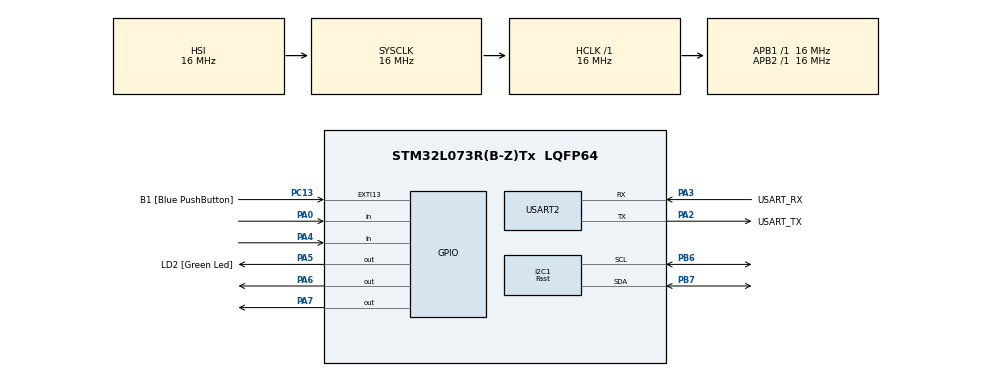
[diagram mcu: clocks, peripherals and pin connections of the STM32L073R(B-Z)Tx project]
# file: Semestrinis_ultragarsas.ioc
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I2C1.I2C_Speed_Mode=I2C_Fast
I2C1.Timing=0x00300617
Mcu.Family=STM32L0
Mcu.Name=STM32L073R(B-Z)Tx
Mcu.Package=LQFP64
NVIC.TIM2_IRQn=true\:0\:0\:false\:false\:true\:true\:true\:true
NVIC.USART2_IRQn=true\:0\:0\:false\:false\:true\:true\:true\:true
PA0.Signal=GPIO_Input
PA13.GPIO_Label=TMS
PA13.Mode=Serial_Wire
PA13.Signal=SYS_SWDIO
PA14.GPIO_Label=TCK
PA14.Mode=Serial_Wire
PA14.Signal=SYS_SWCLK
PA2.GPIO_Label=USART_TX
PA2.Mode=Asynchronous
PA2.Signal=USART2_TX
PA3.GPIO_Label=USART_RX
PA3.Mode=Asynchronous
PA3.Signal=USART2_RX
PA4.Signal=GPIO_Input
PA5.GPIO_Label=LD2 [Green Led]
PA5.Signal=GPIO_Output
PA6.Signal=GPIO_Output
PA7.Signal=GPIO_Output
PB6.Mode=I2C
PB6.Signal=I2C1_SCL
PB7.Mode=I2C
PB7.Signal=I2C1_SDA
PC13.GPIO_Label=B1 [Blue PushButton]
PC13.GPIO_ModeDefaultEXTI=GPIO_MODE_IT_FALLING
PC13.Signal=GPXTI13
PC14-OSC32_IN.Mode=LSE-External-Oscillator
PC14-OSC32_IN.Signal=RCC_OSC32_IN
PC15-OSC32_OUT.Mode=LSE-External-Oscillator
PC15-OSC32_OUT.Signal=RCC_OSC32_OUT
PH0-OSC_IN.GPIO_Label=MCO
PH0-OSC_IN.Mode=HSE-External-Clock-Source
PH0-OSC_IN.Signal=RCC_OSC_IN
ProjectManager.HeapSize=0x200
ProjectManager.StackSize=0x400
ProjectManager.TargetToolchain=STM32CubeIDE
RCC.AHBFreq_Value=16000000
RCC.APB1Freq_Value=16000000
RCC.APB1TimFreq_Value=16000000
RCC.APB2Freq_Value=16000000
RCC.APB2TimFreq_Value=16000000
RCC.HCLKFreq_Value=16000000
RCC.HSE_VALUE=8000000
RCC.HSI16_VALUE=16000000
RCC.HSI48_VALUE=48000000
RCC.HSI_VALUE=16000000
RCC.MSI_VALUE=2097000
RCC.SYSCLKFreq_VALUE=16000000
RCC.SYSCLKSource=RCC_SYSCLKSOURCE_HSI
RCC.VCOOutputFreq_Value=48000000
TIM2.Period=199
TIM2.Prescaler=15999
TIM21.Prescaler=15
USART2.VirtualMode-Asynchronous=VM_ASYNC
VP_TIM21_VS_ClockSourceINT.Mode=Internal
VP_TIM2_VS_ClockSourceINT.Mode=Internal
board=NUCLEO-L073RZ

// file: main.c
/* USER CODE BEGIN Header */
/**
  ******************************************************************************
  * @file           : main.c
  * @brief          : Main program body
  ******************************************************************************
  * @attention
  *
  * Copyright (c) 2025 STMicroelectronics.
  * All rights reserved.
  *
  * This software is licensed under terms that can be found in the LICENSE file
  * in the root directory of this software component.
  * If no LICENSE file comes with this software, it is provided AS-IS.
  *
  ******************************************************************************
  */
/* USER CODE END Header */
#include "main.h"
#include "i2c.h" q
#include "tim.h"
#include "usart.h"
#include "gpio.h"

/* USER CODE BEGIN Includes */
#include <string.h>
#include <stdio.h>
#include "ssd1306.h"
#include "fonts.h"
/* USER CODE END Includes */

/* USER CODE BEGIN PD */
#define TRIG_PIN GPIO_PIN_6
#define TRIG_PORT GPIOA
#define ECHO_PIN GPIO_PIN_0
#define ECHO_PORT GPIOA

#define TRIG2_PIN GPIO_PIN_7
#define TRIG2_PORT GPIOA
#define ECHO2_PIN GPIO_PIN_4
#define ECHO2_PORT GPIOA

/* USER CODE END PD */

/* USER CODE BEGIN PV */
uint16_t sensor1_buffer[10] = {0};  // 10 kartu (2s / 0.2s)
uint16_t sensor2_buffer[10] = {0};
uint8_t buffer_index = 0;
uint8_t sample_count = 0;

/* USER CODE END PV */

void SystemClock_Config(void);

/* USER CODE BEGIN 0 */

void HAL_TIM_PeriodElapsedCallback(TIM_HandleTypeDef *htim)
{
    if (htim->Instance == TIM2)
    {
        char msg[128];
        uint16_t distance1 = 0, distance2 = 0;
        uint8_t err1 = 0, err2 = 0;
        uint32_t val1, val2, pulse_width_us;
        uint32_t timeout;

      // 1 sensorius
        HAL_GPIO_WritePin(TRIG_PORT, TRIG_PIN, GPIO_PIN_SET);
        for (volatile int i = 0; i < 160; i++);
        HAL_GPIO_WritePin(TRIG_PORT, TRIG_PIN, GPIO_PIN_RESET);

        timeout = HAL_GetTick();
        while (!HAL_GPIO_ReadPin(ECHO_PORT, ECHO_PIN)) {
            if ((HAL_GetTick() - timeout) > 50) {
                err1 = 1;
                break;
            }
        }
        if (!err1) {
            val1 = __HAL_TIM_GET_COUNTER(&htim21);
            timeout = HAL_GetTick();
            while (HAL_GPIO_ReadPin(ECHO_PORT, ECHO_PIN)) {
                if ((HAL_GetTick() - timeout) > 50) {
                    err1 = 1;
                    break;
                }
            }
            val2 = __HAL_TIM_GET_COUNTER(&htim21);
            if (!err1) {
                pulse_width_us = (val2 >= val1) ? (val2 - val1) : (0xFFFF - val1 + val2);
                distance1 = (uint16_t)((pulse_width_us * 0.0343f) / 2.0f);
                if (distance1 > 500) err1 = 1;
            }
        }

       // 2 sensorius
        HAL_GPIO_WritePin(TRIG2_PORT, TRIG2_PIN, GPIO_PIN_SET);
        for (volatile int i = 0; i < 160; i++);
        HAL_GPIO_WritePin(TRIG2_PORT, TRIG2_PIN, GPIO_PIN_RESET);

        timeout = HAL_GetTick();
        while (!HAL_GPIO_ReadPin(ECHO2_PORT, ECHO2_PIN)) {
            if ((HAL_GetTick() - timeout) > 50) {
                err2 = 1;
                break;
            }
        }
        if (!err2) {
            val1 = __HAL_TIM_GET_COUNTER(&htim21);
            timeout = HAL_GetTick();
            while (HAL_GPIO_ReadPin(ECHO2_PORT, ECHO2_PIN)) {
                if ((HAL_GetTick() - timeout) > 50) {
                    err2 = 1;
                    break;
                }
            }
            val2 = __HAL_TIM_GET_COUNTER(&htim21);
            if (!err2) {
                pulse_width_us = (val2 >= val1) ? (val2 - val1) : (0xFFFF - val1 + val2);
                distance2 = (uint16_t)((pulse_width_us * 0.03432f) / 2.0f);
                if (distance2 > 500) err2 = 1;
            }
        }

        uint16_t diff = (distance1 > distance2) ? (distance1 - distance2) : (distance2 - distance1);
        sprintf(msg, "%u %u %u\r\n", distance1, distance2, diff);
        HAL_UART_Transmit(&huart2, (uint8_t *)msg, strlen(msg), HAL_MAX_DELAY);

        // bufferio loudingas
        if (!err1) sensor1_buffer[buffer_index] = distance1;
        else sensor1_buffer[buffer_index] = 0;

        if (!err2) sensor2_buffer[buffer_index] = distance2;
        else sensor2_buffer[buffer_index] = 0;

        buffer_index++;
        sample_count++;

        if (buffer_index >= 10) buffer_index = 0;

        if (sample_count >= 10)
        {
            sample_count = 0;
            uint32_t sum1 = 0, sum2 = 0;
            for (int i = 0; i < 10; i++) {
                sum1 += sensor1_buffer[i];
                sum2 += sensor2_buffer[i];
            }
            uint16_t avg1 = sum1 / 10;
            uint16_t avg2 = sum2 / 10;
            uint16_t diff = (avg1 > avg2) ? (avg1 - avg2) : (avg2 - avg1);

            // oledo displayingas
            char line[32];

            SSD1306_GotoXY(0, 0);
            SSD1306_Puts("Avg1:           ", &Font_11x18, 1);
            SSD1306_GotoXY(0, 18);
            SSD1306_Puts("Avg2:           ", &Font_11x18, 1);
            SSD1306_GotoXY(0, 36);
            SSD1306_Puts("Diff:           ", &Font_11x18, 1);

            SSD1306_GotoXY(0, 0);
            sprintf(line, "SEN1: %u cm", avg1);
            SSD1306_Puts(line, &Font_11x18, 1);

            SSD1306_GotoXY(0, 18);
            sprintf(line, "SEN2: %u cm", avg2);
            SSD1306_Puts(line, &Font_11x18, 1);

            SSD1306_GotoXY(0, 36);
            sprintf(line, "Diff: %u cm", diff);
            SSD1306_Puts(line, &Font_11x18, 1);

            SSD1306_UpdateScreen();
        }

    }
}
int main(void)
{

  /* MCU Configuration--------------------------------------------------------*/

  /* Reset of all peripherals, Initializes the Flash interface and the Systick. */
  HAL_Init();

  /* Configure the system clock */
  SystemClock_Config();

  /* Initialize all configured peripherals */
  MX_GPIO_Init();
  MX_USART2_UART_Init();
  MX_I2C1_Init();
  MX_TIM2_Init();
  MX_TIM21_Init();
  /* USER CODE BEGIN 2 */

  HAL_TIM_Base_Start_IT(&htim2);
  HAL_TIM_Base_Start(&htim21);

  SSD1306_Init();
  SSD1306_Fill(SSD1306_COLOR_BLACK);
  SSD1306_UpdateScreen();
  SSD1306_GotoXY(0, 0);
  SSD1306_Puts("Starting...", &Font_11x18, 1);
  SSD1306_UpdateScreen();

  /* USER CODE END 2 */

  /* Infinite loop */
  while (1)
  {

  }
}

void SystemClock_Config(void)
{
  RCC_OscInitTypeDef RCC_OscInitStruct = {0};
  RCC_ClkInitTypeDef RCC_ClkInitStruct = {0};
  RCC_PeriphCLKInitTypeDef PeriphClkInit = {0};

  /** Configure the main internal regulator output voltage
  */
  __HAL_PWR_VOLTAGESCALING_CONFIG(PWR_REGULATOR_VOLTAGE_SCALE1);

  /** Initializes the RCC Oscillators according to the specified parameters
  * in the RCC_OscInitTypeDef structure.
  */
  RCC_OscInitStruct.OscillatorType = RCC_OSCILLATORTYPE_HSI;
  RCC_OscInitStruct.HSIState = RCC_HSI_ON;
  RCC_OscInitStruct.HSICalibrationValue = RCC_HSICALIBRATION_DEFAULT;
  RCC_OscInitStruct.PLL.PLLState = RCC_PLL_NONE;
  if (HAL_RCC_OscConfig(&RCC_OscInitStruct) != HAL_OK)
  {
    Error_Handler();
  }

  /** Initializes the CPU, AHB and APB buses clocks
  */
  RCC_ClkInitStruct.ClockType = RCC_CLOCKTYPE_HCLK|RCC_CLOCKTYPE_SYSCLK
                              |RCC_CLOCKTYPE_PCLK1|RCC_CLOCKTYPE_PCLK2;
  RCC_ClkInitStruct.SYSCLKSource = RCC_SYSCLKSOURCE_HSI;
  RCC_ClkInitStruct.AHBCLKDivider = RCC_SYSCLK_DIV1;
  RCC_ClkInitStruct.APB1CLKDivider = RCC_HCLK_DIV1;
  RCC_ClkInitStruct.APB2CLKDivider = RCC_HCLK_DIV1;

  if (HAL_RCC_ClockConfig(&RCC_ClkInitStruct, FLASH_LATENCY_0) != HAL_OK)
  {
    Error_Handler();
  }
  PeriphClkInit.PeriphClockSelection = RCC_PERIPHCLK_USART2|RCC_PERIPHCLK_I2C1;
  PeriphClkInit.Usart2ClockSelection = RCC_USART2CLKSOURCE_PCLK1;
  PeriphClkInit.I2c1ClockSelection = RCC_I2C1CLKSOURCE_PCLK1;
  if (HAL_RCCEx_PeriphCLKConfig(&PeriphClkInit) != HAL_OK)
  {
    Error_Handler();
  }
}

/* USER CODE BEGIN 4 */
int __io_putchar(int ch) {
    HAL_UART_Transmit(&huart2, (uint8_t *)&ch, 1, HAL_MAX_DELAY);
    return ch;
}

/* USER CODE END 4 */

void Error_Handler(void)
{
  __disable_irq();
  while (1)
  {
  }
}
